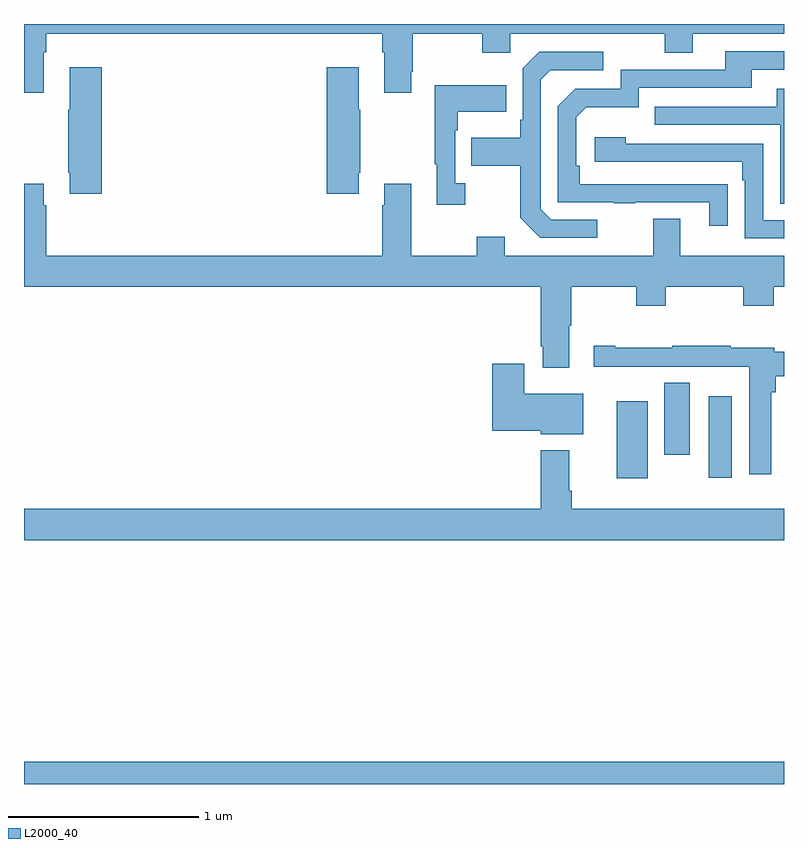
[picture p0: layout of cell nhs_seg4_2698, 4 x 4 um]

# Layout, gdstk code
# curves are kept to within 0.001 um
import gdstk
lib = gdstk.Library(unit=1e-6, precision=1e-09)
def R(c, l, rs):  # rectangles x0, y0, x1, y1
    for r in rs: c.add(gdstk.rectangle(r[:2], r[2:], *l))
def P(c, l, *ps):  # polygons
    for p in ps: c.add(gdstk.Polygon(p, *l))
L2000_40 = (2000, 40)

nhs_seg4_2698 = lib.new_cell('nhs_seg4_2698')
R(nhs_seg4_2698, L2000_40, [(253,764.9,257,765.016), (256.121,766.509,256.282,766.915), (256.604,766.512,256.726,766.942), (256.37,766.632,256.504,767.012)])
P(nhs_seg4_2698, L2000_40, [(253.105,768.752),(253.118,768.752),(253.118,768.848),(254.885,768.848),(254.885,768.752),(254.897,768.752),(254.897,768.537),(255.037,768.537),(255.037,768.649),(255.045,768.649),(255.045,768.848),(255.412,768.848),(255.412,768.749),(255.558,768.749),(255.558,768.848),(256.372,768.848),(256.372,768.749),(256.519,768.749),(256.519,768.848),(257,768.848),(257,768.9),(253,768.9),(253,768.537),(253.105,768.537)],
  [(256.703,768.056),(255.926,768.057),(255.926,768.154),(255.906,768.154),(255.906,768.408),(255.959,768.461),(256.236,768.461),(256.236,768.564),(256.831,768.564),(256.831,768.66),(257,768.66),(257,768.756),(256.691,768.756),(256.691,768.66),(256.14,768.66),(256.14,768.558),(255.9,768.558),(255.81,768.468),(255.81,767.961),(256.105,767.961),(256.105,767.956),(256.217,767.956),(256.217,767.961),(256.607,767.961),(256.607,767.838),(256.703,767.838)],
  [(256.017,767.871),(255.774,767.871),(255.72,767.925),(255.72,768.606),(255.771,768.657),(256.048,768.657),(256.048,768.753),(255.711,768.753),(255.624,768.666),(255.624,768.397),(255.612,768.397),(255.612,768.301),(255.355,768.301),(255.355,768.154),(255.612,768.154),(255.612,767.881),(255.717,767.775),(256.017,767.775)],
  [(254.761,768.118),(254.769,768.118),(254.769,768.449),(254.761,768.449),(254.761,768.673),(254.594,768.673),(254.594,768.006),(254.761,768.006)],
  [(253.409,768.673),(253.241,768.673),(253.241,768.449),(253.234,768.449),(253.234,768.118),(253.241,768.118),(253.241,768.006),(253.409,768.006)],
  [(255.322,768.062),(255.27,768.062),(255.27,768.341),(255.283,768.341),(255.283,768.437),(255.539,768.437),(255.539,768.577),(255.162,768.577),(255.162,768.161),(255.173,768.161),(255.173,767.949),(255.322,767.949)],
  [(257,768.559),(256.961,768.559),(256.961,768.465),(256.321,768.465),(256.321,768.369),(256.98,768.369),(256.98,767.953),(257,767.953)],
  [(257,767.868),(256.89,767.868),(256.89,768.27),(256.166,768.27),(256.166,768.304),(256.005,768.304),(256.005,768.174),(256.781,768.174),(256.781,768.077),(256.794,768.077),(256.794,767.772),(257,767.772)],
  [(256.453,767.875),(256.313,767.875),(256.313,767.68),(255.529,767.68),(255.529,767.779),(255.382,767.779),(255.382,767.68),(255.037,767.68),(255.037,768.058),(254.897,768.058),(254.897,767.945),(254.885,767.945),(254.885,767.68),(253.118,767.68),(253.118,767.945),(253.105,767.945),(253.105,768.058),(253,768.058),(253,767.516),(255.719,767.516),(255.719,767.203),(255.731,767.203),(255.731,767.091),(255.871,767.091),(255.871,767.312),(255.879,767.312),(255.879,767.516),(256.222,767.516),(256.222,767.417),(256.377,767.417),(256.377,767.516),(256.786,767.516),(256.786,767.417),(256.946,767.417),(256.946,767.516),(257,767.516),(257,767.68),(256.453,767.68)],
  [(256.934,766.961),(256.956,766.961),(256.956,767.047),(257,767.047),(257,767.176),(256.948,767.176),(256.948,767.196),(256.721,767.196),(256.721,767.206),(256.411,767.206),(256.411,767.196),(256.111,767.196),(256.111,767.206),(255.999,767.206),(255.999,767.096),(256.274,767.096),(256.274,767.097),(256.608,767.097),(256.608,767.096),(256.818,767.096),(256.818,766.53),(256.934,766.53)],
  [(255.943,766.954),(255.634,766.954),(255.634,767.113),(255.464,767.113),(255.464,766.76),(255.72,766.76),(255.72,766.742),(255.943,766.742)],
  [(257,766.348),(255.884,766.348),(255.884,766.444),(255.871,766.444),(255.871,766.657),(255.719,766.657),(255.719,766.348),(253,766.348),(253,766.184),(257,766.184)])

lib.write_gds('nhs_seg4_2698.gds')
